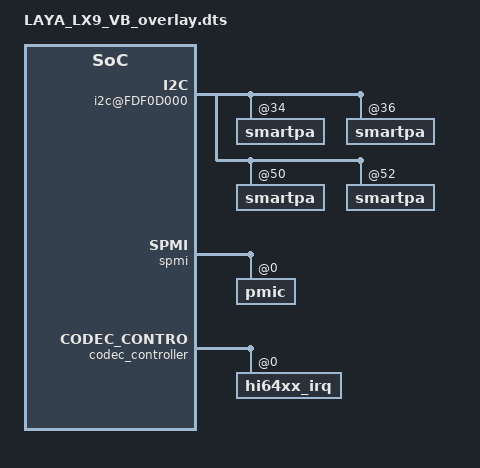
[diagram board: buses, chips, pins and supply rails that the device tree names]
/**
 * Copyright (C) 2014 Hisilicon Ltd.
 *
 *  This program is free software; you can redistribute it and/or modify
 *  it under the terms of the GNU General Public License version 2 as
 *  publishhed by the Free Software Foundation.
 */

/dts-v1/;
/plugin/;
/include/ "LAYA_LX9_VA_overlay.dtsi"
/include/ "LAYA_LX9_VB_pin.dtsi"
/include/ "LAYA_LX9_VB_modem_pin.dtsi"

/ {
    board_id = <8438>;
};

	&rootparam{
		hisi,boardid = <8 4 3 8>;
		hisi,boardname = "LAYA_LX9_VB";
		hisi,modem_id = <0x37012000>;
		hisi,product_name = "LAYA-LX9";
	};

	&devcheck {
		airpress = <1>;
	};
	&amba {
		i2c@FDF0D000 {
			smartpa@34{
				chip_model = "tfa9874";
			};
			smartpa@36{
				chip_model = "tfa9874";
			};
			smartpa@50{
				chip_model = "cs35l36";
			};
			smartpa@52{
				chip_model = "cs35l36";
			};
		};
	};

	&audio_hw_config {
		audio_capability {
			music_region_enable = "true";
			voice_region_enable = "true";
		};
	};

    /*hisi customize*/
    &hisi_cust_cfg {
        ini_file_name = "/vendor/etc/cfg_laya_lx9_vb.ini";
    };


&spmi {
    pmic@0 {
        sim0 {
            pmu_ldo12_pull_down = <0>;
        };

        sim1 {
            pmu_ldo12_pull_down = <0>;
        };
    };
};

	&sensorhub{
		light{
			als1{
				als_phone_version = <12>;
			};
		};
	};
	&codec_controller {
		hi64xx_irq@0 {
			hi6403_codec@0 {
				hisilicon,rcv_tdd_gpio = <56>;
			};
		};
	};
	&hisi_usb {
		usb_firmware_es = <0>;
	};
